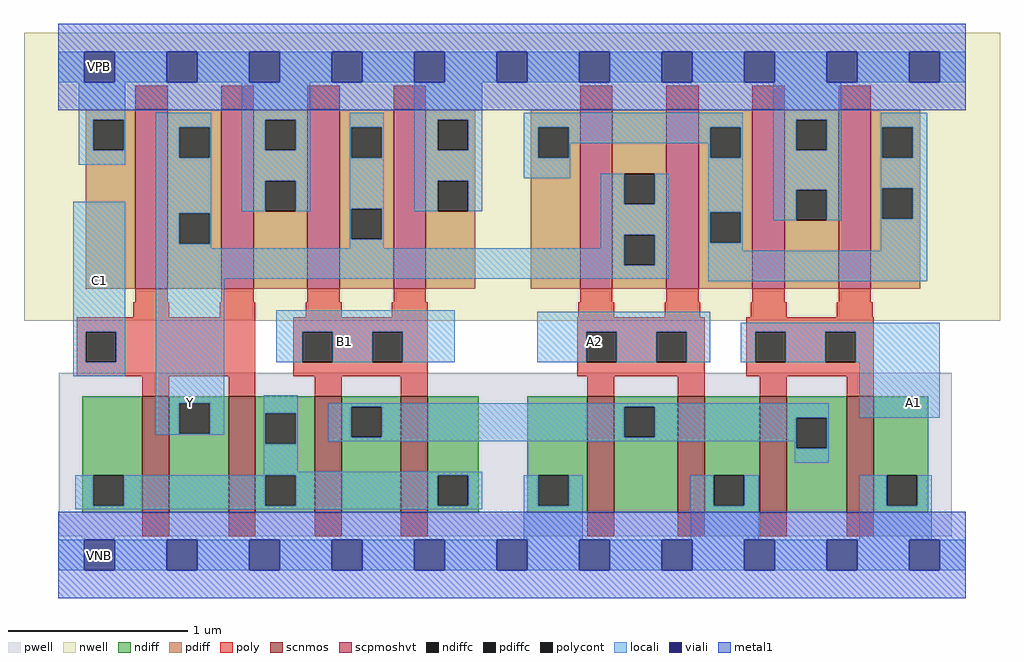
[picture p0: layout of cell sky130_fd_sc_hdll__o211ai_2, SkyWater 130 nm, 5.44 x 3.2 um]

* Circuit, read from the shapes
.subckt sky130_fd_sc_hdll__o211ai_2 A1 A2 B1 C1 VGND VNB VPB VPWR Y
XM1 Y C1 n1 VNB sky130_fd_pr__nfet_01v8 w=0.65 l=0.15 m=2
XM2 n2 B1 n1 VNB sky130_fd_pr__nfet_01v8 w=0.65 l=0.15 m=2
XM3 n2 A2 VGND VNB sky130_fd_pr__nfet_01v8 w=0.65 l=0.15 m=2
XM4 n2 A1 VGND VNB sky130_fd_pr__nfet_01v8 w=0.65 l=0.15 m=2
XM5 Y C1 VPWR VPB sky130_fd_pr__pfet_01v8_hvt w=1 l=0.18 m=2
XM6 Y B1 VPWR VPB sky130_fd_pr__pfet_01v8_hvt w=1 l=0.18 m=2
XM7 Y A2 n3 VPB sky130_fd_pr__pfet_01v8_hvt w=1 l=0.18 m=2
XM8 VPWR A1 n3 VPB sky130_fd_pr__pfet_01v8_hvt w=1 l=0.18 m=2
.ends

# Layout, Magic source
magic
tech sky130A
magscale 1 2
<< nwell >>
rect -38 261 1050 582
<< pwell >>
rect 1 21 996 203
rect 29 -17 63 21
<< scnmos >>
rect 94 47 124 177
rect 190 47 220 177
rect 286 47 316 177
rect 382 47 412 177
rect 590 47 620 177
rect 691 47 721 177
rect 782 47 812 177
rect 879 47 909 177
<< scpmoshvt >>
rect 86 297 122 497
rect 182 297 218 497
rect 278 297 314 497
rect 374 297 410 497
rect 582 297 618 497
rect 678 297 714 497
rect 774 297 810 497
rect 870 297 906 497
<< ndiff >>
rect 27 89 94 177
rect 27 55 39 89
rect 73 55 94 89
rect 27 47 94 55
rect 124 169 190 177
rect 124 135 135 169
rect 169 135 190 169
rect 124 47 190 135
rect 220 158 286 177
rect 220 124 231 158
rect 265 124 286 158
rect 220 89 286 124
rect 220 55 231 89
rect 265 55 286 89
rect 220 47 286 55
rect 316 165 382 177
rect 316 131 327 165
rect 361 131 382 165
rect 316 47 382 131
rect 412 89 469 177
rect 412 55 423 89
rect 457 55 469 89
rect 412 47 469 55
rect 523 89 590 177
rect 523 55 535 89
rect 569 55 590 89
rect 523 47 590 55
rect 620 165 691 177
rect 620 131 631 165
rect 665 131 691 165
rect 620 47 691 131
rect 721 89 782 177
rect 721 55 731 89
rect 765 55 782 89
rect 721 47 782 55
rect 812 153 879 177
rect 812 119 823 153
rect 857 119 879 153
rect 812 47 879 119
rect 909 89 970 177
rect 909 55 924 89
rect 958 55 970 89
rect 909 47 970 55
<< pdiff >>
rect 31 485 86 497
rect 31 451 39 485
rect 73 451 86 485
rect 31 297 86 451
rect 122 477 182 497
rect 122 443 135 477
rect 169 443 182 477
rect 122 381 182 443
rect 122 347 135 381
rect 169 347 182 381
rect 122 297 182 347
rect 218 485 278 497
rect 218 451 231 485
rect 265 451 278 485
rect 218 417 278 451
rect 218 383 231 417
rect 265 383 278 417
rect 218 297 278 383
rect 314 477 374 497
rect 314 443 327 477
rect 361 443 374 477
rect 314 386 374 443
rect 314 352 327 386
rect 361 352 374 386
rect 314 297 374 352
rect 410 485 465 497
rect 410 451 423 485
rect 457 451 465 485
rect 410 417 465 451
rect 410 383 423 417
rect 457 383 465 417
rect 410 297 465 383
rect 527 477 582 497
rect 527 443 535 477
rect 569 443 582 477
rect 527 297 582 443
rect 618 425 678 497
rect 618 391 631 425
rect 665 391 678 425
rect 618 357 678 391
rect 618 323 631 357
rect 665 323 678 357
rect 618 297 678 323
rect 714 477 774 497
rect 714 443 727 477
rect 761 443 774 477
rect 714 382 774 443
rect 714 348 727 382
rect 761 348 774 382
rect 714 297 774 348
rect 810 485 870 497
rect 810 451 823 485
rect 857 451 870 485
rect 810 407 870 451
rect 810 373 823 407
rect 857 373 870 407
rect 810 297 870 373
rect 906 477 961 497
rect 906 443 919 477
rect 953 443 961 477
rect 906 409 961 443
rect 906 375 919 409
rect 953 375 961 409
rect 906 297 961 375
<< ndiffc >>
rect 39 55 73 89
rect 135 135 169 169
rect 231 124 265 158
rect 231 55 265 89
rect 327 131 361 165
rect 423 55 457 89
rect 535 55 569 89
rect 631 131 665 165
rect 731 55 765 89
rect 823 119 857 153
rect 924 55 958 89
<< pdiffc >>
rect 39 451 73 485
rect 135 443 169 477
rect 135 347 169 381
rect 231 451 265 485
rect 231 383 265 417
rect 327 443 361 477
rect 327 352 361 386
rect 423 451 457 485
rect 423 383 457 417
rect 535 443 569 477
rect 631 391 665 425
rect 631 323 665 357
rect 727 443 761 477
rect 727 348 761 382
rect 823 451 857 485
rect 823 373 857 407
rect 919 443 953 477
rect 919 375 953 409
<< poly >>
rect 86 497 122 523
rect 182 497 218 523
rect 278 497 314 523
rect 374 497 410 523
rect 582 497 618 523
rect 678 497 714 523
rect 774 497 810 523
rect 870 497 906 523
rect 86 282 122 297
rect 182 282 218 297
rect 278 282 314 297
rect 374 282 410 297
rect 582 282 618 297
rect 678 282 714 297
rect 774 282 810 297
rect 870 282 906 297
rect 84 265 124 282
rect 180 265 220 282
rect 276 265 316 282
rect 372 265 412 282
rect 580 265 620 282
rect 676 265 716 282
rect 772 265 812 282
rect 868 265 908 282
rect 21 249 220 265
rect 21 215 31 249
rect 65 215 220 249
rect 21 199 220 215
rect 262 249 412 265
rect 262 215 272 249
rect 306 215 350 249
rect 384 215 412 249
rect 262 199 412 215
rect 579 249 721 265
rect 579 215 589 249
rect 623 215 667 249
rect 701 215 721 249
rect 579 199 721 215
rect 767 249 909 265
rect 767 215 777 249
rect 811 215 855 249
rect 889 215 909 249
rect 767 199 909 215
rect 94 177 124 199
rect 190 177 220 199
rect 286 177 316 199
rect 382 177 412 199
rect 590 177 620 199
rect 691 177 721 199
rect 782 177 812 199
rect 879 177 909 199
rect 94 21 124 47
rect 190 21 220 47
rect 286 21 316 47
rect 382 21 412 47
rect 590 21 620 47
rect 691 21 721 47
rect 782 21 812 47
rect 879 21 909 47
<< polycont >>
rect 31 215 65 249
rect 272 215 306 249
rect 350 215 384 249
rect 589 215 623 249
rect 667 215 701 249
rect 777 215 811 249
rect 855 215 889 249
<< locali >>
rect 0 527 29 561
rect 63 527 121 561
rect 155 527 213 561
rect 247 527 305 561
rect 339 527 397 561
rect 431 527 489 561
rect 523 527 581 561
rect 615 527 673 561
rect 707 527 765 561
rect 799 527 857 561
rect 891 527 949 561
rect 983 527 1012 561
rect 23 485 75 527
rect 23 451 39 485
rect 73 451 75 485
rect 23 435 75 451
rect 109 477 171 493
rect 109 443 135 477
rect 169 443 171 477
rect 17 249 75 394
rect 17 215 31 249
rect 65 215 75 249
rect 17 199 75 215
rect 109 381 171 443
rect 205 485 281 527
rect 205 451 231 485
rect 265 451 281 485
rect 205 417 281 451
rect 205 383 231 417
rect 265 383 281 417
rect 325 477 363 493
rect 325 443 327 477
rect 361 443 363 477
rect 325 386 363 443
rect 109 347 135 381
rect 169 347 171 381
rect 109 342 171 347
rect 325 352 327 386
rect 361 352 363 386
rect 397 485 473 527
rect 397 451 423 485
rect 457 451 473 485
rect 397 417 473 451
rect 519 477 763 493
rect 519 443 535 477
rect 569 459 727 477
rect 569 443 571 459
rect 519 420 571 443
rect 725 443 727 459
rect 761 443 763 477
rect 397 383 423 417
rect 457 383 473 417
rect 605 391 631 425
rect 665 391 681 425
rect 325 342 363 352
rect 605 357 681 391
rect 605 342 631 357
rect 109 323 631 342
rect 665 323 681 357
rect 109 308 681 323
rect 725 382 763 443
rect 725 348 727 382
rect 761 348 763 382
rect 797 485 873 527
rect 797 451 823 485
rect 857 451 873 485
rect 797 407 873 451
rect 797 373 823 407
rect 857 373 873 407
rect 917 477 969 493
rect 917 443 919 477
rect 953 443 969 477
rect 917 409 969 443
rect 917 375 919 409
rect 953 375 969 409
rect 725 339 763 348
rect 917 339 969 375
rect 109 169 185 308
rect 725 305 969 339
rect 243 249 442 273
rect 243 215 272 249
rect 306 215 350 249
rect 384 215 442 249
rect 534 249 727 271
rect 534 215 589 249
rect 623 215 667 249
rect 701 215 727 249
rect 761 249 983 259
rect 761 215 777 249
rect 811 215 855 249
rect 889 215 983 249
rect 109 135 135 169
rect 169 135 185 169
rect 109 134 185 135
rect 229 158 267 178
rect 229 124 231 158
rect 265 124 267 158
rect 301 165 859 169
rect 301 131 327 165
rect 361 131 631 165
rect 665 153 859 165
rect 893 153 983 215
rect 665 131 823 153
rect 301 127 823 131
rect 229 93 267 124
rect 821 119 823 127
rect 857 119 859 153
rect 821 103 859 119
rect 229 89 473 93
rect 19 55 39 89
rect 73 55 231 89
rect 265 55 423 89
rect 457 55 473 89
rect 19 51 473 55
rect 519 55 535 89
rect 569 55 585 89
rect 519 17 585 55
rect 705 55 731 89
rect 765 55 781 89
rect 705 17 781 55
rect 893 55 924 89
rect 958 55 974 89
rect 893 17 974 55
rect 0 -17 29 17
rect 63 -17 121 17
rect 155 -17 213 17
rect 247 -17 305 17
rect 339 -17 397 17
rect 431 -17 489 17
rect 523 -17 581 17
rect 615 -17 673 17
rect 707 -17 765 17
rect 799 -17 857 17
rect 891 -17 949 17
rect 983 -17 1012 17
<< viali >>
rect 29 527 63 561
rect 121 527 155 561
rect 213 527 247 561
rect 305 527 339 561
rect 397 527 431 561
rect 489 527 523 561
rect 581 527 615 561
rect 673 527 707 561
rect 765 527 799 561
rect 857 527 891 561
rect 949 527 983 561
rect 29 -17 63 17
rect 121 -17 155 17
rect 213 -17 247 17
rect 305 -17 339 17
rect 397 -17 431 17
rect 489 -17 523 17
rect 581 -17 615 17
rect 673 -17 707 17
rect 765 -17 799 17
rect 857 -17 891 17
rect 949 -17 983 17
<< metal1 >>
rect 0 561 1012 592
rect 0 527 29 561
rect 63 527 121 561
rect 155 527 213 561
rect 247 527 305 561
rect 339 527 397 561
rect 431 527 489 561
rect 523 527 581 561
rect 615 527 673 561
rect 707 527 765 561
rect 799 527 857 561
rect 891 527 949 561
rect 983 527 1012 561
rect 0 496 1012 527
rect 0 17 1012 48
rect 0 -17 29 17
rect 63 -17 121 17
rect 155 -17 213 17
rect 247 -17 305 17
rect 339 -17 397 17
rect 431 -17 489 17
rect 523 -17 581 17
rect 615 -17 673 17
rect 707 -17 765 17
rect 799 -17 857 17
rect 891 -17 949 17
rect 983 -17 1012 17
rect 0 -48 1012 -17
<< labels >>
flabel locali s 937 153 971 187 0 FreeSans 400 0 0 0 A1
port 1 nsew signal input
flabel locali s 581 221 615 255 0 FreeSans 400 0 0 0 A2
port 2 nsew signal input
flabel locali s 302 221 336 255 0 FreeSans 400 0 0 0 B1
port 3 nsew signal input
flabel locali s 131 153 165 187 0 FreeSans 400 0 0 0 Y
port 9 nsew signal output
flabel locali s 29 289 63 323 0 FreeSans 400 0 0 0 C1
port 4 nsew signal input
flabel pwell s 29 -17 63 17 0 FreeSans 200 0 0 0 VNB
port 6 nsew ground bidirectional
flabel nwell s 29 527 63 561 0 FreeSans 200 0 0 0 VPB
port 7 nsew power bidirectional
flabel metal1 s 29 -17 63 17 0 FreeSans 200 0 0 0 VGND
port 5 nsew ground bidirectional
flabel metal1 s 29 527 63 561 0 FreeSans 200 0 0 0 VPWR
port 8 nsew power bidirectional
rlabel comment s 0 0 0 0 4 o211ai_2
<< properties >>
string LEFsite unithd
string LEFclass CORE
string FIXED_BBOX 0 0 1012 544
string GDS_FILE $PDKPATH/libs.ref/sky130_fd_sc_hdll/gds/sky130_fd_sc_hdll.gds
string LEFsymmetry X Y R90
string GDS_END 2398720
string GDS_START 2390956
string LEFproperties maskLayoutSubType "abstract" prCellType "standard" originalViewName "layout"
<< end >>
